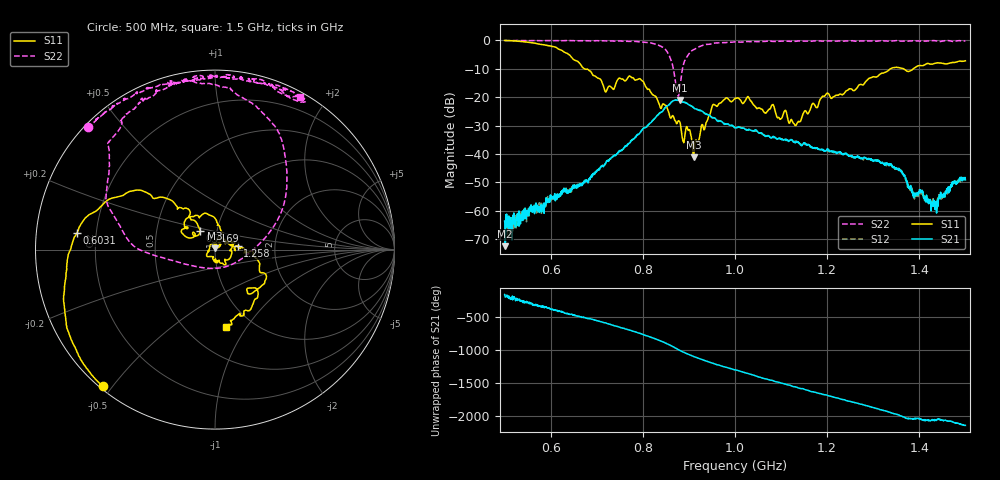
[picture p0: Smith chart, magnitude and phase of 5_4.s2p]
!Agilent Technologies,E8364B,US42250235,A.06.04.32
!Agilent E8364B: A.06.04.32
!Date: Friday, January 15, 2021 16:16:20
!Correction: S11(Full 2 Port(1,2)) S21(Full 2 Port(1,2)) S12(Full 2 Port(1,2)) S22(Full 2 Port(1,2))
!S2P File: Measurements: S11, S21, S12, S22:
# Hz S  dB  R 50
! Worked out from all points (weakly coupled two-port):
!   1601 points, 500 MHz to 1.5 GHz, reference 50 ohm
!   highest |S21| = -21.03 dB at 880 MHz (marker M1); lowest = -72.4 dB at 501.2 MHz (marker M2)
!   lowest |S11| = -41.1 dB at 910 MHz (marker M3), VSWR 1.02, Z = 49.7 + j0.839 ohm
!   |S11| at or under -10 dB: 672.4 MHz to 1.338 GHz (665.8 MHz wide, 66.2 % of centre); 1.365 GHz to 1.388 GHz (22.27 MHz wide, 1.62 % of centre)
!   |S22| runs from -19.6 to -0.1 dB; largest |S21 - S12| = 0.0049
!   S11 on the Smith chart (normalised r, x): 500 MHz: 0.01, -0.47; 603.1 MHz: 0.13, +0.06; 716.9 MHz: 0.83, +0.18; 1.258 GHz: 1.29, +0.05; 1.5 GHz: 0.76, -0.80
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5e8  -0.12 -129.4  -63.58 -169.7  -68.23 169.7  -0.16 136.0
5.0125e8  -0.12 -129.9  -72.39 154.1  -65.91 136.5  -0.17 136.0
6.03125e8  -2.22 173.3  -55.19 -32.0  -55.67 -32.4  -0.19 125.4
6.66875e8  -9.06 131.1  -50.75 -148.9  -50.23 -150.8  -0.20 116.3
7.16875e8  -17.45 128.3  -43.90 125.9  -43.90 125.8  -0.25 111.7
7.74375e8  -12.96 125.1  -35.42 10.1  -35.26 8.3  -0.44 97.9
8.3375e8  -21.81 60.3  -26.10 -133.3  -26.10 -135.8  -1.76 72.0
8.6e8  -27.36 63.1  -22.10 148.1  -22.20 145.9  -6.46 35.1
8.74375e8  -29.20 46.3  -21.12 93.2  -21.14 91.1  -18.41 -47.3
8.8e8  -28.73 43.5  -21.03 73.3  -21.10 71.0  -17.22 -135.9
8.9125e8  -33.30 75.0  -21.88 36.2  -21.88 33.5  -7.09 178.5
8.9875e8  -31.72 85.3  -22.62 12.0  -22.39 9.3  -5.12 165.1
9.1e8  -41.12 106.6  -23.75 -19.8  -23.60 -22.4  -3.37 153.3
9.53125e8  -22.59 69.3  -27.31 -123.4  -27.25 -127.0  -1.15 126.2
1e9  -20.49 -7.1  -30.80 139.8  -30.66 135.9  -0.59 115.1
1.081875e9  -22.60 -80.3  -33.87 -21.2  -34.13 -26.7  -0.44 104.1
1.13e9  -29.91 174.9  -36.01 -114.3  -35.53 -118.3  -0.44 95.6
1.166875e9  -22.65 63.4  -37.64 171.5  -37.59 170.5  -0.36 91.2
1.2575e9  -17.79 8.8  -41.12 11.7  -41.39 8.9  -0.28 86.6
1.33375e9  -10.55 -25.7  -43.98 -135.0  -43.92 -136.6  -0.37 76.6
1.435625e9  -8.10 -65.9  -56.76 107.0  -58.05 110.2  -0.24 70.3
1.5e9  -7.27 -81.9  -49.09 25.2  -48.84 26.4  -0.25 60.8
